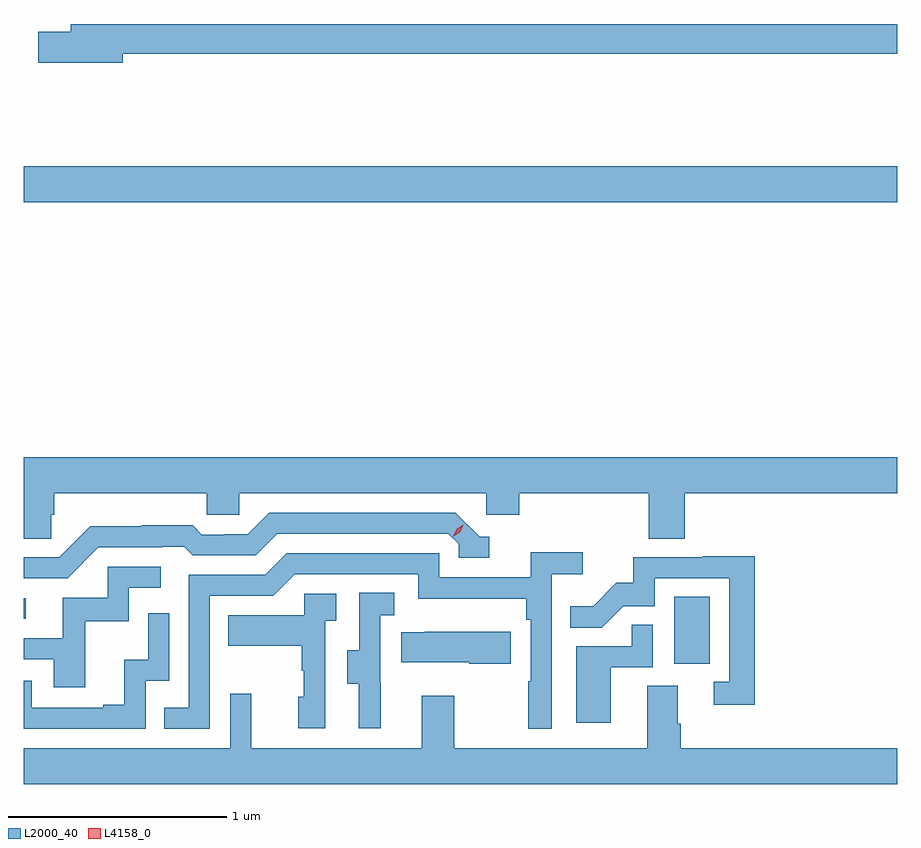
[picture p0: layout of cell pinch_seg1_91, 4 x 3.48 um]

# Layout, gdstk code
import gdstk
lib = gdstk.Library(unit=1e-6, precision=1e-09)
def R(c, l, rs):  # rectangles x0, y0, x1, y1
    for r in rs: c.add(gdstk.rectangle(r[:2], r[2:], *l))
def P(c, l, *ps):  # polygons
    for p in ps: c.add(gdstk.Polygon(p, *l))
L2000_40 = (2000, 40)
L4158_0 = (4158, 0)

pinch_seg1_91 = lib.new_cell('pinch_seg1_91')
R(pinch_seg1_91, L2000_40, [(1050.92,548.286,1051.084,548.593), (1047.942,548.493,1047.952,548.586), (1047.942,550.4,1051.942,550.564)])
P(pinch_seg1_91, L2000_40, [(1048.396,551.08),(1051.942,551.08),(1051.942,551.216),(1048.157,551.216),(1048.157,551.18),(1048.008,551.18),(1048.008,551.038),(1048.396,551.038)],
  [(1048.067,548.97),(1048.082,548.97),(1048.082,549.068),(1048.779,549.068),(1048.779,548.97),(1048.929,548.97),(1048.929,549.068),(1050.06,549.068),(1050.06,548.97),(1050.212,548.97),(1050.212,549.068),(1050.803,549.068),(1050.803,548.86),(1050.968,548.86),(1050.968,549.068),(1051.942,549.068),(1051.942,549.232),(1047.942,549.232),(1047.942,548.86),(1048.067,548.86)],
  [(1048.284,548.82),(1048.577,548.82),(1048.577,548.823),(1048.676,548.823),(1048.715,548.784),(1049.004,548.784),(1049.103,548.883),(1049.886,548.883),(1049.934,548.835),(1049.934,548.772),(1050.073,548.772),(1050.073,548.868),(1050.03,548.868),(1049.919,548.979),(1049.066,548.979),(1048.967,548.88),(1048.86,548.88),(1048.86,548.877),(1048.757,548.877),(1048.715,548.92),(1048.482,548.92),(1048.482,548.917),(1048.246,548.917),(1048.104,548.775),(1047.942,548.775),(1047.942,548.679),(1048.143,548.679)],
  [(1048.794,548.598),(1049.085,548.598),(1049.184,548.697),(1049.748,548.697),(1049.748,548.585),(1050.244,548.585),(1050.244,548.489),(1050.264,548.489),(1050.264,548.207),(1050.252,548.207),(1050.252,547.989),(1050.36,547.989),(1050.36,548.696),(1050.502,548.696),(1050.502,548.798),(1050.263,548.798),(1050.263,548.682),(1049.844,548.682),(1049.844,548.793),(1049.147,548.793),(1049.048,548.694),(1048.698,548.694),(1048.698,548.085),(1048.585,548.085),(1048.585,547.989),(1048.794,547.989)],
  [(1051.289,548.78),(1051.051,548.78),(1051.051,548.775),(1050.733,548.775),(1050.733,548.658),(1050.656,548.658),(1050.549,548.551),(1050.445,548.551),(1050.445,548.452),(1050.589,548.452),(1050.687,548.55),(1050.831,548.55),(1050.831,548.679),(1051.173,548.679),(1051.173,548.205),(1051.101,548.205),(1051.101,548.1),(1051.289,548.1)],
  [(1048.223,548.481),(1048.422,548.481),(1048.422,548.634),(1048.57,548.634),(1048.57,548.73),(1048.326,548.73),(1048.326,548.589),(1048.121,548.589),(1048.121,548.403),(1047.942,548.403),(1047.942,548.307),(1048.079,548.307),(1048.079,548.178),(1048.223,548.178)],
  [(1049.576,548.205),(1049.574,548.205),(1049.574,548.509),(1049.638,548.509),(1049.638,548.612),(1049.478,548.612),(1049.478,548.349),(1049.423,548.349),(1049.423,548.194),(1049.477,548.194),(1049.477,547.992),(1049.576,547.992)],
  [(1049.322,548.483),(1049.374,548.483),(1049.374,548.607),(1049.226,548.607),(1049.226,548.509),(1048.879,548.509),(1048.879,548.369),(1049.214,548.369),(1049.214,548.255),(1049.224,548.255),(1049.224,548.136),(1049.198,548.136),(1049.198,547.992),(1049.322,547.992)],
  [(1048.5,548.208),(1048.608,548.208),(1048.608,548.518),(1048.512,548.518),(1048.512,548.306),(1048.403,548.306),(1048.403,548.098),(1048.307,548.098),(1048.307,548.085),(1047.978,548.085),(1047.978,548.208),(1047.942,548.208),(1047.942,547.989),(1048.5,547.989)],
  [(1050.631,548.271),(1050.822,548.271),(1050.822,548.465),(1050.727,548.465),(1050.727,548.367),(1050.473,548.367),(1050.473,548.016),(1050.631,548.016)],
  [(1050.172,548.434),(1049.779,548.434),(1049.779,548.431),(1049.671,548.431),(1049.671,548.294),(1049.981,548.294),(1049.981,548.287),(1050.172,548.287)],
  [(1048.887,548.149),(1048.887,547.9),(1047.942,547.9),(1047.942,547.736),(1051.942,547.736),(1051.942,547.9),(1050.95,547.9),(1050.95,548.012),(1050.937,548.012),(1050.937,548.186),(1050.797,548.186),(1050.797,547.9),(1049.913,547.9),(1049.913,548.14),(1049.765,548.14),(1049.765,547.9),(1048.985,547.9),(1048.985,548.149)])
P(pinch_seg1_91, L4158_0, [(1049.909,548.87),(1049.909,548.87),(1049.925,548.903),(1049.955,548.923),(1049.955,548.923),(1049.955,548.922),(1049.94,548.89),(1049.91,548.87)])

lib.write_gds('pinch_seg1_91.gds')
